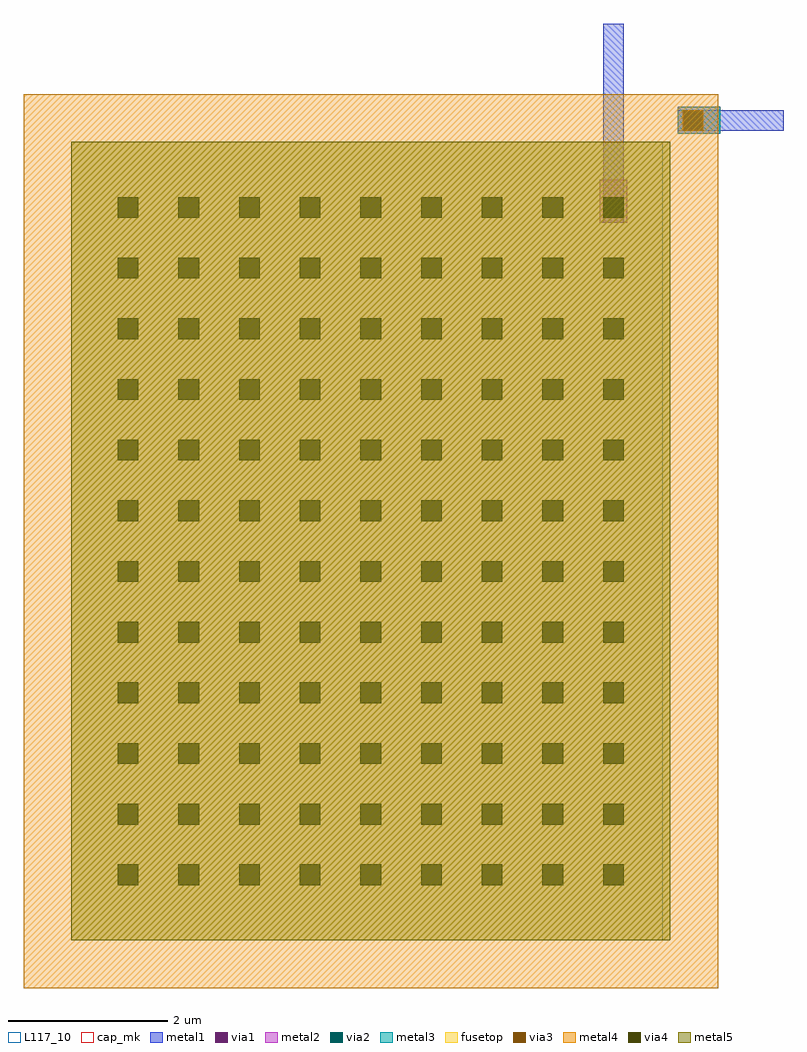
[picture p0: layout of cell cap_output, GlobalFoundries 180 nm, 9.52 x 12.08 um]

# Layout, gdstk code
from math import pi, radians
import gdstk
lib = gdstk.Library(unit=1e-6, precision=1e-09)
def R(c, l, rs):  # rectangles x0, y0, x1, y1
    for r in rs: c.add(gdstk.rectangle(r[:2], r[2:], *l))
def A(c, l, x, y, w, h, nx, ny, dx, dy):  # array of equal rectangles
    R(c, l, [(x+i*dx, y+j*dy, x+i*dx+w, y+j*dy+h) for i in range(nx) for j in range(ny)])
def P(c, l, *ps):  # polygons
    for p in ps: c.add(gdstk.Polygon(p, *l))
metal1 = (34, 0)
via1 = (35, 0)
metal2 = (36, 0)
via2 = (38, 0)
via3 = (40, 0)
via4 = (41, 0)
metal3 = (42, 0)
metal4 = (46, 0)
fusetop = (75, 0)
metal5 = (81, 0)
cap_mk = (117, 5)
L117_10 = (117, 10)

cap_mim = lib.new_cell('cap_mim')
A(cap_mim, via4, 0.69, 0.58, 0.26, 0.26, 12, 9, 0.76, 0.76)
R(cap_mim, metal4, [(-0.6,-0.6,10.6,8.1)])
R(cap_mim, fusetop, [(0,0,10,7.5)])
R(cap_mim, metal5, [(0,0,10,7.5)])
R(cap_mim, cap_mk, [(-0.6,-0.6,10.6,8.1)])
R(cap_mim, L117_10, [(0,0,10,0.1)])
cap_mim.add(gdstk.Label('t', (5,3.75), layer=81, texttype=10))
cap_mim.add(gdstk.Label('b', (5,-0.3), layer=46, texttype=10))

cap_output = lib.new_cell('cap_output')
R(cap_output, metal1, [(-31.565,10.345,-31.305,10.405), (-31.565,10.405,-31.305,10.665), (-30.63,11.495,-30.57,11.755), (-30.57,11.495,-30.54,11.755), (-30.54,11.495,-29.305,11.755)])
R(cap_output, via1, [(-31.565,10.405,-31.305,10.665), (-30.57,11.495,-30.31,11.755)])
P(cap_output, via1, [(-30.485,11.735),(-30.485,11.735),(-30.485,11.735),(-30.485,11.735)])
R(cap_output, metal2, [(-31.605,10.345,-31.265,10.88), (-30.63,11.455,-30.095,11.495), (-30.63,11.495,-30.095,11.755), (-30.63,11.755,-30.095,11.795)])
R(cap_output, via2, [(-30.57,11.495,-30.31,11.755)])
R(cap_output, via3, [(-30.57,11.495,-30.31,11.755)])
R(cap_output, metal3, [(-30.63,11.455,-30.095,11.795)])
cap_output.add(gdstk.FlexPath([(-31.435,10.665),(-31.435,12.835)], 0.26, ends="flush", simple_path=True, layer=34, datatype=0))  # metal1
r = gdstk.Reference(cap_mim, (-30.725,1.355), rotation=pi/2); r.repetition = gdstk.Repetition(1, 1, v1=(0,0), v2=(0,0)); cap_output.add(r)
cap_output.add(gdstk.Label('GND', (10.055,11.64), layer=34, texttype=10))
cap_output.add(gdstk.Label('IN_OUT', (8.025,12.705), layer=34, texttype=10))

lib.write_gds('cap_output.gds')
